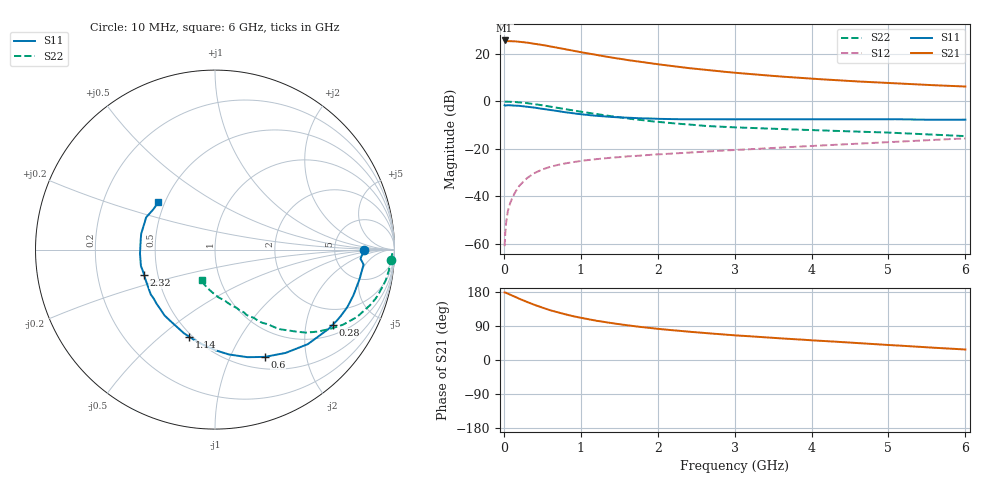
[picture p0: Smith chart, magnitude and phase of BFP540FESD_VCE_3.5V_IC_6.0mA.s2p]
! Infineon Technologies  Discrete & RF Semiconductors
! BFP540FESD
! VCE =  3.5 V,  IC =  6.0 mA
! Common Emitter S-Parameters:  Nov 2015
# GHz  S  MA  R  50
!  f  S11  S21  S12  S22
! GHz  MAG  ANG  MAG  ANG  MAG  ANG  MAG  ANG
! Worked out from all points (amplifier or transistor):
!   210 points, 10 MHz to 6 GHz, reference 50 ohm
!   highest |S21| = 25.6 dB at 10 MHz (marker M1)
!   |S21| within 3 dB of that: start of sweep to 685.4 MHz
!   unconditionally stable (mu >= 1): 2.611 GHz to end of sweep
!   at 185 MHz: K = 0.13, MSG = 30.7 dB, |S12| = -36.3 dB
!   at 1.52 GHz: K = 0.68, MSG = 20.6 dB, |S12| = -23.4 dB
!   at 6 GHz: K = 1.29, MAG = 7.7 dB, |S12| = -15.6 dB
!   S11 on the Smith chart (normalised r, x): 10 MHz: 11, -0; 280 MHz: 1.34, -2.85; 600 MHz: 0.64, -1.36; 1.14 GHz: 0.48, -0.63; 2.32 GHz: 0.42, -0.15; 6 GHz: 0.46, +0.29
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0.01  0.8294 -0.3  19.06 178.4  0.0009 54.0  0.984 -3.5
0.02  0.8123 -3.6  18.32 178.0  0.0018 79.3  0.9872 -1.4
0.05  0.832 -5.7  18.49 175.4  0.0047 82.6  0.9805 -3.4
0.15  0.8122 -18.3  18.24 166.4  0.0124 78.3  0.9666 -10.2
0.2  0.8039 -23.5  17.87 161.7  0.0166 77.1  0.9517 -13.5
0.28  0.778 -32.6  17.33 155.0  0.0225 72.9  0.9254 -18.5
0.4  0.7383 -45.5  16.3 145.3  0.0311 67.7  0.8757 -25.4
0.5  0.697 -55.7  15.37 138.0  0.0369 63.6  0.8258 -30.5
0.6  0.659 -65.1  14.3 131.4  0.0418 59.8  0.7763 -34.8
0.8  0.5895 -82.4  12.46 120.3  0.0496 53.9  0.6846 -42.5
0.9  0.5611 -89.7  11.59 115.5  0.0527 52.3  0.6427 -45.3
1.02  0.5308 -98.0  10.67 110.6  0.0564 50.5  0.5996 -48.5
1.14  0.5065 -106.4  9.847 105.9  0.0595 48.8  0.5596 -51.6
1.3  0.4818 -115.7  8.87 100.6  0.063 47.3  0.5119 -54.5
1.5  0.462 -127.6  7.864 94.4  0.067 45.5  0.4616 -58.9
1.72  0.4424 -137.9  6.96 88.6  0.0713 44.3  0.4147 -63.1
2.02  0.4278 -150.5  5.969 81.9  0.0768 43.2  0.3674 -67.7
2.32  0.4198 -160.0  5.19 76.3  0.082 42.7  0.3341 -71.7
3.1  0.4174 -178.8  3.87 63.9  0.0964 41.6  0.2799 -81.8
4.1  0.4198 166.6  2.928 50.9  0.1174 40.3  0.2452 -91.7
5.1  0.4204 153.4  2.383 38.5  0.1421 36.3  0.2163 -101.5
6  0.4115 140.0  2.049 27.7  0.1659 31.7  0.1855 -113.0
